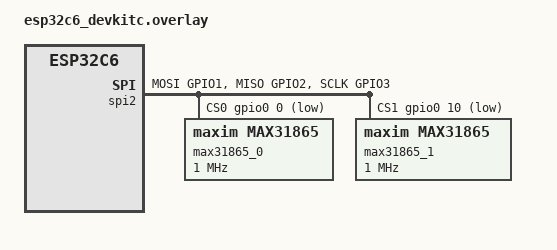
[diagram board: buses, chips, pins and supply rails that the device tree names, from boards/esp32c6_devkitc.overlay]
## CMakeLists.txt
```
# SPDX-License-Identifier: Apache-2.0

cmake_minimum_required(VERSION 3.20.0)

find_package(Zephyr REQUIRED HINTS $ENV{ZEPHYR_BASE})
project(MAX31865)

target_sources(app PRIVATE src/main.c)
```

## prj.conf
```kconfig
# enable printing floats
CONFIG_CBPRINTF_FP_SUPPORT=y
# enable logging 
# Level: [0,4]: [NONE, ERR, WRN, INF, DBG]
CONFIG_LOG=y
CONFIG_LOG_DEFAULT_LEVEL=3
CONFIG_LOG_MODE_MINIMAL=y

# MAX31865
CONFIG_GPIO=y
CONFIG_SPI=y
CONFIG_SENSOR=y
CONFIG_MAX31865=y
```

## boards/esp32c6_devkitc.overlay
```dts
//west build -- -DDTC_OVERLAY_FILE=boards/esp32c6_devkitc.overlay

&spi2 {
    status = "okay";
    pinctrl-0 = <&spim2_default>;
    pinctrl-names = "default";
    cs-gpios =  <&gpio0 0 GPIO_ACTIVE_LOW>,
                <&gpio0 10 GPIO_ACTIVE_LOW>;

    max31865_0: max31865@0 {
        compatible = "maxim,max31865";
        reg = <0>;
        spi-max-frequency = <1000000>;
        status = "okay";
        maxim,3-wire;
        filter-50hz;
        resistance-at-zero= <100>;
        resistance-reference = <4290>;
    };

    max31865_1: max31865@1 {
        compatible = "maxim,max31865";
        reg = <1>;
        spi-max-frequency = <1000000>;
        status = "okay";
        maxim,3-wire;
        filter-50hz;
        resistance-at-zero= <100>;
        resistance-reference = <4290>;
    };
};

&pinctrl {
    spim2_default: spim2_default {
        group1 {
            pinmux = <SPIM2_MOSI_GPIO1>, <SPIM2_MISO_GPIO2>, <SPIM2_SCLK_GPIO3>;
        };
    };
};
```

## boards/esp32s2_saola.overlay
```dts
//west build -- -DDTC_OVERLAY_FILE=boards/esp32c6_devkitc.overlay

&spi2 {
    status = "okay";
    pinctrl-0 = <&spim2_default>;
    pinctrl-names = "default";
    cs-gpios =  <&gpio0 3 GPIO_ACTIVE_LOW>,
                <&gpio0 13 GPIO_ACTIVE_LOW>;

    max31865_0: max31865@0 {
        compatible = "maxim,max31865";
        reg = <0>;
        spi-max-frequency = <1000000>;
        status = "okay";
        maxim,3-wire;
        filter-50hz;
        resistance-at-zero= <100>;
        resistance-reference = <4290>;
    };

    max31865_1: max31865@1 {
        compatible = "maxim,max31865";
        reg = <1>;
        spi-max-frequency = <1000000>;
        status = "okay";
        maxim,3-wire;
        filter-50hz;
        resistance-at-zero= <100>;
        resistance-reference = <4290>;
    };
};

&pinctrl {
    spim2_default: spim2_default {
        group1 {
            pinmux = <SPIM2_MOSI_GPIO4>, <SPIM2_MISO_GPIO5>, <SPIM2_SCLK_GPIO6>;
        };
    };
};
```

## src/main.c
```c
#include <stdio.h>
//#include <stdbool.h>    // booleans
#include <zephyr/kernel.h>
#include <zephyr/device.h>
#include <zephyr/drivers/sensor.h>
#include <zephyr/drivers/spi.h>
#include <autoconf.h>

int main(void)
{
	printf("%s running\n", CONFIG_BOARD);

	const struct device *dev_0 = DEVICE_DT_GET(DT_NODELABEL(max31865_0));
	const struct device *dev_1 = DEVICE_DT_GET(DT_NODELABEL(max31865_1));

	if (!device_is_ready(dev_0)) {
		printk("MAX31865 device 0 not ready\n");
		return 0;
	}
	if (!device_is_ready(dev_1)) {
		printk("MAX31865 device 1 not ready\n");
		return 0;
	}

	printk("Device %p name is %s\n", dev_0, dev_0->name);
	printk("Device %p name is %s\n", dev_1, dev_1->name);

	while (1) {
		k_sleep(K_MSEC(1000));
		struct sensor_value temp_0;
		struct sensor_value temp_1;

		sensor_sample_fetch(dev_0);
		sensor_channel_get(dev_0, SENSOR_CHAN_AMBIENT_TEMP, &temp_0);

		sensor_sample_fetch(dev_1);
		sensor_channel_get(dev_1, SENSOR_CHAN_AMBIENT_TEMP, &temp_1);

		printk("Temperature sensor 0: %.2f C\n", sensor_value_to_double(&temp_0));
		printk("Temperature sensor 1: %.2f C\n", sensor_value_to_double(&temp_1));
		printf("---\n");

	}
	return 0;
}
```
